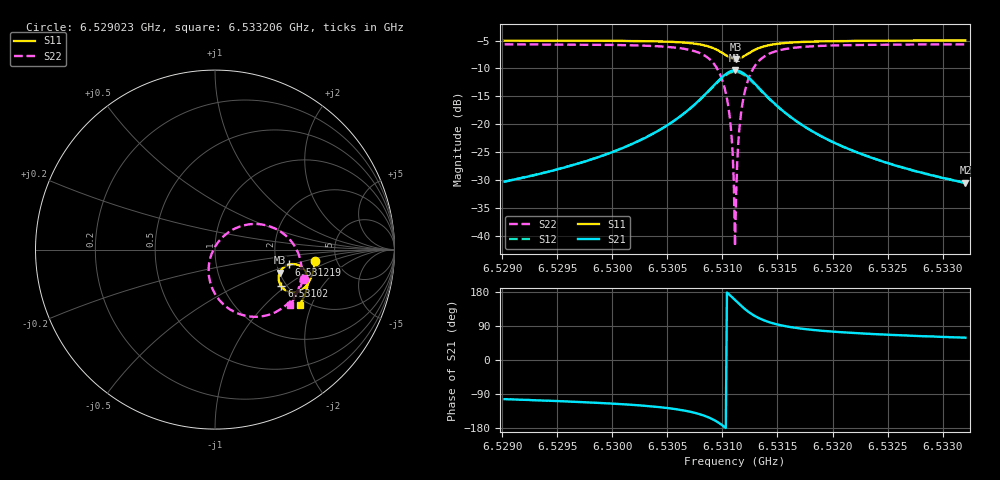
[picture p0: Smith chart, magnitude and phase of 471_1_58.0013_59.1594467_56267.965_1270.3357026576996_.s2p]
#  HZ  S  RI  R  50.00
! Rohde & Schwarz Vector Network Analyzer
! Rohde-Schwarz,ZNB20-2Port,1311601062101988,3.16
! Created: UTC 3/21/2024, 1:11:22 AM
! freq[Hz]  re:S11  im:S11  re:S21  im:S21  re:S12  im:S12  re:S22  im:S22
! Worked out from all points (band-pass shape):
!   401 points, 6.529023 GHz to 6.533206 GHz, reference 50 ohm
!   highest |S21| = -10.34 dB at 6.531114 GHz (marker M1); lowest = -30.4 dB at 6.533206 GHz (marker M2)
!   |S21| within 3 dB of the highest: 6.530907 GHz to 6.531324 GHz (417.3 kHz wide, 0.00639 % of centre)
!   lowest |S11| = -8.3 dB at 6.531125 GHz (marker M3), VSWR 2.24, Z = 100 - j30.1 ohm
!   |S11| at or under -10 dB: nowhere
!   |S22| runs from -41.8 to -5.7 dB; largest |S21 - S12| = 0.012
!   S11 on the Smith chart (normalised r, x): 6.529023 GHz: 3.43, -0.62; 6.53102 GHz: 1.87, -0.93; 6.531219 GHz: 2.34, -0.47; 6.533206 GHz: 1.82, -1.64
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6.5290231e9  0.5576 -0.0617  -0.00713 -0.0299  -0.00762 -0.0298  0.4931 -0.1652
6.5297237e9  0.5469 -0.1198  -0.0165 -0.0425  -0.0174 -0.0424  0.4627 -0.2302
6.5304243e9  0.5185 -0.1886  -0.0499 -0.0732  -0.0519 -0.0717  0.3819 -0.3214
6.5306648e9  0.4914 -0.2183  -0.0891 -0.0923  -0.0919 -0.0893  0.3023 -0.3624
6.5308425e9  0.4481 -0.2373  -0.1565 -0.0987  -0.1588 -0.0924  0.1771 -0.3703
6.5309471e9  0.4039 -0.2321  -0.2253 -0.0725  -0.2244 -0.0633  0.0599 -0.3164
6.5310203e9  0.3696 -0.2049  -0.276 -0.0147  -0.2705 -0.00505  -0.0176 -0.2106
6.5310621e9  0.3568 -0.1772  -0.2919 0.0376  -0.2832 0.0454  -0.0355 -0.121
6.531083e9  0.3547 -0.1612  -0.2926 0.0675  -0.2827 0.0736  -0.0319 -0.0717
6.5310935e9  0.3548 -0.1527  -0.2906 0.0825  -0.2804 0.0879  -0.0265 -0.0471
6.5311039e9  0.356 -0.1444  -0.2873 0.0975  -0.2768 0.102  -0.0184 -0.0229
6.5311144e9  0.3579 -0.1361  -0.2826 0.1124  -0.2717 0.1157  -0.00814 0.000435
6.5311249e9  0.3609 -0.1281  -0.2761 0.1264  -0.2655 0.129  0.0047 0.023
6.5311353e9  0.3647 -0.1206  -0.2683 0.1399  -0.2577 0.1414  0.0193 0.0437
6.5311458e9  0.3692 -0.1133  -0.2595 0.1524  -0.2492 0.1532  0.0358 0.0629
6.5311667e9  0.3801 -0.101  -0.2388 0.1742  -0.2292 0.1731  0.0733 0.0952
6.531219e9  0.4129 -0.0829  -0.1788 0.2061  -0.1722 0.203  0.1776 0.1388
6.5312922e9  0.4555 -0.0833  -0.1036 0.2081  -0.1006 0.205  0.304 0.1297
6.5313967e9  0.4925 -0.106  -0.0394 0.1773  -0.0379 0.1756  0.4093 0.0636
6.531815e9  0.5177 -0.1857  0.0158 0.0854  0.0167 0.0852  0.4825 -0.1281
6.5325156e9  0.4981 -0.257  0.0177 0.0408  0.0185 0.0407  0.4546 -0.2451
6.5332057e9  0.4709 -0.3082  0.0156 0.0257  0.0159 0.0254  0.4198 -0.3062
